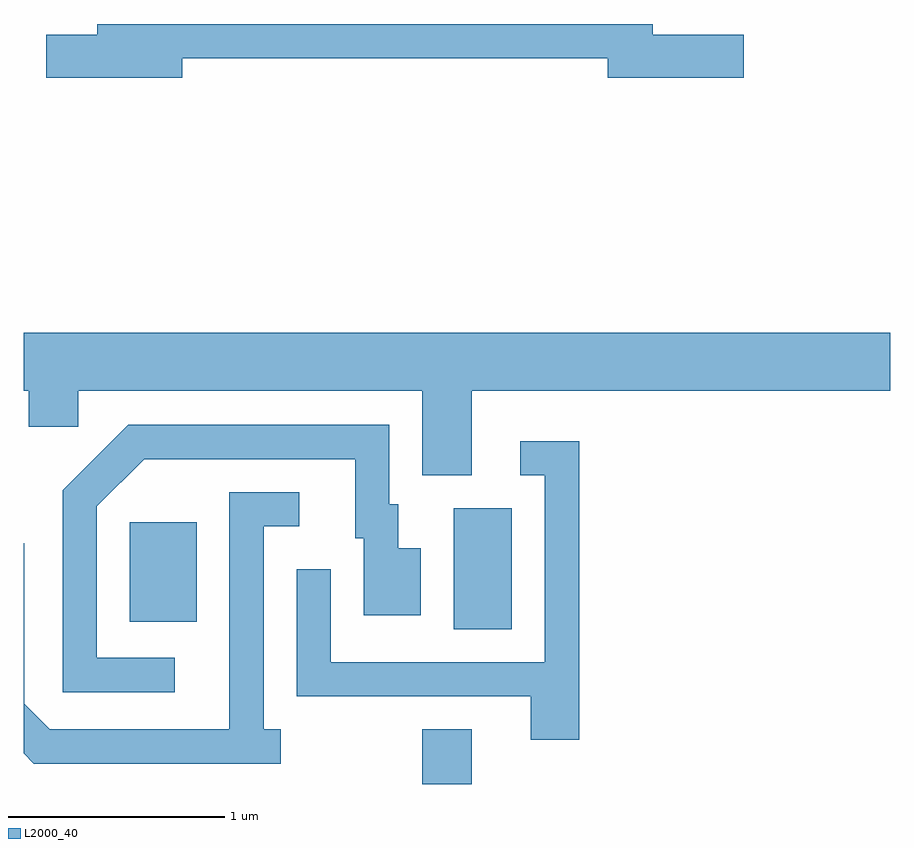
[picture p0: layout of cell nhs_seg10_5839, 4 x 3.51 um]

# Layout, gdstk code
import gdstk
lib = gdstk.Library(unit=1e-6, precision=1e-09)
def R(c, l, rs):  # rectangles x0, y0, x1, y1
    for r in rs: c.add(gdstk.rectangle(r[:2], r[2:], *l))
def P(c, l, *ps):  # polygons
    for p in ps: c.add(gdstk.Polygon(p, *l))
L2000_40 = (2000, 40)

nhs_seg10_5839 = lib.new_cell('nhs_seg10_5839')
R(nhs_seg10_5839, L2000_40, [(359.451,2136.522,359.679,2136.774), (359.596,2137.236,359.864,2137.794), (358.101,2137.271,358.409,2137.729)])
P(nhs_seg10_5839, L2000_40, [(358.344,2139.871),(360.306,2139.871),(360.306,2139.781),(360.934,2139.781),(360.934,2139.979),(360.514,2139.979),(360.514,2140.029),(357.951,2140.029),(357.951,2139.979),(357.716,2139.979),(357.716,2139.781),(358.344,2139.781)],
  [(359.679,2138.336),(361.611,2138.336),(361.611,2138.604),(357.611,2138.604),(357.611,2138.336),(357.636,2138.336),(357.636,2138.171),(357.864,2138.171),(357.864,2138.336),(359.451,2138.336),(359.451,2137.946),(359.679,2137.946)],
  [(358.308,2137.104),(357.949,2137.104),(357.949,2137.804),(358.167,2138.021),(359.141,2138.021),(359.141,2137.656),(359.181,2137.656),(359.181,2137.301),(359.444,2137.301),(359.444,2137.609),(359.339,2137.609),(359.339,2137.814),(359.299,2137.814),(359.299,2138.179),(358.094,2138.179),(357.791,2137.877),(357.791,2136.946),(358.308,2136.946)],
  [(360.174,2138.104),(359.903,2138.104),(359.903,2137.946),(360.016,2137.946),(360.016,2137.084),(359.029,2137.084),(359.029,2137.513),(358.871,2137.513),(358.871,2136.926),(359.951,2136.926),(359.951,2136.726),(360.174,2136.726)],
  [(358.798,2136.774),(358.719,2136.774),(358.719,2137.711),(358.883,2137.711),(358.883,2137.869),(358.561,2137.869),(358.561,2136.774),(357.732,2136.774),(357.614,2136.892),(357.614,2137.633),(357.611,2137.633),(357.611,2136.664),(357.659,2136.616),(358.798,2136.616)])

lib.write_gds('nhs_seg10_5839.gds')
